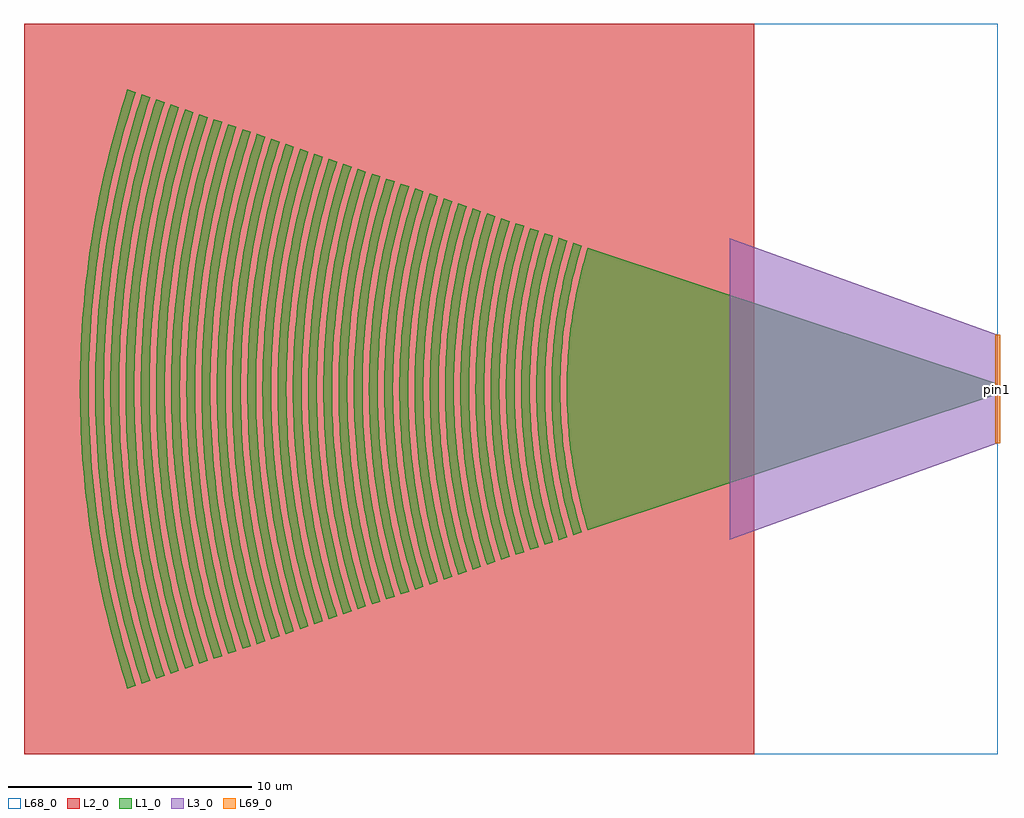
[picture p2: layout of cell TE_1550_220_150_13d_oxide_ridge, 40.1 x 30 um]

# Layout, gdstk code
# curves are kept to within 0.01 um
import gdstk
lib = gdstk.Library(unit=1e-6, precision=1e-09)
def R(c, l, rs):  # rectangles x0, y0, x1, y1
    for r in rs: c.add(gdstk.rectangle(r[:2], r[2:], *l))
def P(c, l, *ps):  # polygons
    for p in ps: c.add(gdstk.Polygon(p, *l))
L1_0 = (1, 0)
L2_0 = (2, 0)
L3_0 = (3, 0)
L68_0 = (68, 0)
L69_0 = (69, 0)

te_1550_220_150_13d_oxid = lib.new_cell('TE_1550_220_150_13d_oxide_ridge')
P(te_1550_220_150_13d_oxid, L1_0, [(23.162,9.202),(22.963,9.901),(22.79,10.606),(22.643,11.316),(22.522,12.029),(22.427,12.746),(22.358,13.466),(22.315,14.187),(22.299,14.91),(22.315,15.813),(22.358,16.534),(22.427,17.254),(22.522,17.971),(22.643,18.684),(22.79,19.394),(22.963,20.099),(23.162,20.798),(40,15.225),(40,14.775)],
  [(19.026,7.778),(18.772,8.647),(18.551,9.524),(18.363,10.407),(18.209,11.296),(18.087,12.19),(17.999,13.087),(17.945,13.987),(17.924,14.887),(17.937,15.788),(17.983,16.688),(18.062,17.586),(18.175,18.481),(18.363,19.593),(18.551,20.476),(18.772,21.353),(19.026,22.222),(19.366,22.105),(19.117,21.25),(18.9,20.387),(18.716,19.518),(18.564,18.643),(18.444,17.764),(18.358,16.882),(18.305,15.997),(18.284,15.111),(18.296,14.225),(18.342,13.339),(18.42,12.456),(18.531,11.576),(18.674,10.7),(18.851,9.829),(19.117,8.75),(19.366,7.895)],
  [(18.435,7.574),(18.173,8.468),(17.946,9.369),(17.752,10.277),(17.593,11.191),(17.467,12.11),(17.377,13.033),(17.321,13.958),(17.299,14.884),(17.312,15.811),(17.36,16.736),(17.442,17.659),(17.558,18.579),(17.709,19.495),(17.894,20.405),(18.113,21.308),(18.435,22.426),(18.775,22.308),(18.518,21.429),(18.294,20.542),(18.104,19.648),(17.947,18.748),(17.825,17.844),(17.735,16.936),(17.68,16.026),(17.659,15.114),(17.68,13.974),(17.735,13.064),(17.825,12.156),(17.947,11.252),(18.104,10.352),(18.294,9.458),(18.518,8.571),(18.775,7.692)],
  [(17.844,7.371),(17.574,8.288),(17.34,9.214),(17.141,10.148),(16.976,11.087),(16.848,12.031),(16.754,12.979),(16.696,13.929),(16.674,14.881),(16.687,15.833),(16.736,16.784),(16.821,17.732),(16.976,18.913),(17.141,19.852),(17.34,20.786),(17.574,21.712),(17.844,22.629),(18.184,22.512),(17.919,21.608),(17.689,20.697),(17.493,19.778),(17.331,18.853),(17.205,17.923),(17.113,16.99),(17.056,16.054),(17.034,15.117),(17.047,14.18),(17.095,13.244),(17.178,12.31),(17.296,11.379),(17.449,10.453),(17.689,9.303),(17.919,8.392),(18.184,7.488)],
  [(17.253,7.168),(16.976,8.109),(16.734,9.06),(16.529,10.018),(16.36,10.982),(16.228,11.951),(16.132,12.925),(16.072,13.901),(16.049,14.878),(16.063,15.855),(16.113,16.832),(16.2,17.806),(16.36,19.018),(16.529,19.982),(16.734,20.94),(16.976,21.891),(17.253,22.832),(17.593,22.715),(17.321,21.788),(17.083,20.851),(16.881,19.908),(16.715,18.958),(16.585,18.003),(16.49,17.044),(16.432,16.083),(16.409,15.12),(16.432,13.917),(16.49,12.956),(16.585,11.997),(16.715,11.042),(16.881,10.092),(17.083,9.149),(17.321,8.212),(17.593,7.285)],
  [(16.662,6.964),(16.377,7.93),(16.129,8.905),(15.918,9.888),(15.744,10.877),(15.608,11.872),(15.509,12.871),(15.448,13.872),(15.424,14.875),(15.438,15.878),(15.49,16.879),(15.579,17.879),(15.706,18.874),(15.918,20.112),(16.129,21.095),(16.377,22.07),(16.662,23.036),(17.002,22.919),(16.722,21.967),(16.478,21.006),(16.27,20.037),(16.099,19.062),(15.965,18.082),(15.868,17.098),(15.807,16.112),(15.784,15.124),(15.798,14.135),(15.849,13.148),(15.937,12.163),(16.062,11.182),(16.224,10.206),(16.422,9.236),(16.657,8.273),(17.002,7.081)],
  [(16.071,6.761),(15.778,7.751),(15.523,8.75),(15.306,9.758),(15.128,10.773),(14.988,11.792),(14.886,12.816),(14.823,13.843),(14.799,14.871),(14.814,15.9),(14.867,16.927),(14.959,17.952),(15.089,18.973),(15.306,20.242),(15.523,21.25),(15.778,22.249),(16.071,23.239),(16.411,23.122),(16.123,22.146),(15.872,21.16),(15.659,20.167),(15.483,19.167),(15.345,18.162),(15.245,17.152),(15.183,16.14),(15.159,15.127),(15.173,14.113),(15.245,12.848),(15.345,11.838),(15.483,10.833),(15.659,9.833),(15.872,8.84),(16.123,7.854),(16.411,6.878)],
  [(15.48,6.557),(15.179,7.572),(14.918,8.596),(14.695,9.628),(14.512,10.668),(14.368,11.713),(14.264,12.762),(14.199,13.814),(14.174,14.868),(14.189,15.922),(14.244,16.975),(14.338,18.025),(14.472,19.071),(14.646,20.112),(14.858,21.147),(15.179,22.428),(15.48,23.443),(15.82,23.326),(15.524,22.325),(15.267,21.315),(15.047,20.297),(14.867,19.272),(14.725,18.241),(14.622,17.207),(14.559,16.169),(14.534,15.13),(14.549,14.091),(14.622,12.793),(14.725,11.759),(14.867,10.728),(15.047,9.703),(15.267,8.685),(15.524,7.675),(15.82,6.674)],
  [(14.889,6.354),(14.581,7.392),(14.312,8.441),(14.084,9.499),(13.896,10.563),(13.748,11.633),(13.641,12.708),(13.575,13.786),(13.549,14.865),(13.564,15.944),(13.621,17.023),(13.717,18.098),(13.855,19.17),(14.033,20.236),(14.251,21.295),(14.581,22.608),(14.889,23.646),(15.229,23.529),(14.926,22.504),(14.661,21.47),(14.436,20.427),(14.25,19.377),(14.105,18.321),(14,17.261),(13.934,16.198),(13.909,15.133),(13.924,14.068),(13.979,13.005),(14.105,11.679),(14.25,10.623),(14.436,9.573),(14.661,8.53),(14.926,7.496),(15.229,6.471)],
  [(14.298,6.15),(13.982,7.213),(13.707,8.287),(13.472,9.369),(13.279,10.458),(13.128,11.554),(13.018,12.654),(12.95,13.757),(12.924,14.862),(12.94,15.967),(12.997,17.07),(13.128,18.446),(13.279,19.542),(13.472,20.631),(13.707,21.713),(13.982,22.787),(14.298,23.85),(14.638,23.733),(14.327,22.684),(14.055,21.624),(13.824,20.556),(13.634,19.481),(13.485,18.4),(13.377,17.315),(13.31,16.226),(13.284,15.136),(13.3,14.046),(13.356,12.957),(13.454,11.871),(13.634,10.519),(13.824,9.444),(14.055,8.376),(14.327,7.316),(14.638,6.267)],
  [(13.707,5.947),(13.383,7.034),(13.101,8.132),(12.861,9.239),(12.663,10.354),(12.508,11.474),(12.396,12.6),(12.326,13.728),(12.299,14.859),(12.315,15.989),(12.374,17.118),(12.476,18.245),(12.62,19.367),(12.861,20.761),(13.101,21.868),(13.383,22.966),(13.707,24.053),(14.047,23.936),(13.728,22.863),(13.45,21.779),(13.213,20.686),(13.018,19.586),(12.865,18.48),(12.754,17.369),(12.686,16.255),(12.659,15.139),(12.675,14.024),(12.754,12.631),(12.865,11.52),(13.018,10.414),(13.213,9.314),(13.45,8.221),(13.728,7.137),(14.047,6.064)],
  [(13.116,5.743),(12.784,6.855),(12.495,7.977),(12.25,9.109),(12.047,10.249),(11.888,11.395),(11.773,12.546),(11.702,13.7),(11.674,14.855),(11.691,16.011),(11.751,17.166),(11.855,18.318),(12.003,19.465),(12.195,20.606),(12.495,22.023),(12.784,23.145),(13.116,24.257),(13.457,24.14),(13.129,23.042),(12.844,21.934),(12.602,20.816),(12.402,19.691),(12.245,18.559),(12.132,17.423),(12.061,16.284),(12.034,15.143),(12.05,14.001),(12.11,12.862),(12.245,11.441),(12.402,10.309),(12.602,9.184),(12.844,8.066),(13.129,6.958),(13.457,5.86)],
  [(12.525,5.54),(12.186,6.676),(11.89,7.823),(11.638,8.979),(11.431,10.144),(11.268,11.315),(11.15,12.492),(11.077,13.671),(11.049,14.852),(11.066,16.034),(11.128,17.214),(11.235,18.391),(11.386,19.564),(11.582,20.73),(11.823,21.889),(12.108,23.039),(12.525,24.46),(12.866,24.343),(12.531,23.221),(12.239,22.088),(11.99,20.946),(11.786,19.795),(11.625,18.639),(11.509,17.477),(11.437,16.312),(11.409,15.146),(11.437,13.688),(11.509,12.523),(11.625,11.361),(11.786,10.205),(11.99,9.054),(12.239,7.912),(12.531,6.779),(12.866,5.657)],
  [(22.571,8.999),(22.365,9.722),(22.185,10.451),(22.032,11.186),(21.906,11.925),(21.807,12.667),(21.735,13.412),(21.691,14.159),(21.674,14.907),(21.684,15.654),(21.722,16.401),(21.786,17.147),(21.878,17.89),(21.998,18.63),(22.144,19.366),(22.317,20.096),(22.571,21.001),(22.912,20.884),(22.709,20.175),(22.533,19.46),(22.384,18.74),(22.261,18.015),(22.164,17.287),(22.094,16.557),(22.051,15.825),(22.034,15.092),(22.044,14.358),(22.081,13.626),(22.144,12.895),(22.234,12.167),(22.384,11.26),(22.533,10.54),(22.709,9.825),(22.912,9.116)],
  [(21.98,8.795),(21.766,9.543),(21.579,10.297),(21.42,11.056),(21.29,11.82),(21.187,12.587),(21.113,13.358),(21.067,14.13),(21.049,14.903),(21.06,15.677),(21.099,16.449),(21.166,17.22),(21.261,17.989),(21.42,18.944),(21.579,19.703),(21.766,20.457),(21.98,21.205),(22.321,21.087),(22.111,20.354),(21.928,19.614),(21.772,18.869),(21.644,18.12),(21.544,17.367),(21.471,16.611),(21.426,15.853),(21.409,15.095),(21.419,14.336),(21.471,13.389),(21.544,12.633),(21.644,11.88),(21.772,11.131),(21.928,10.386),(22.111,9.646),(22.321,8.913)],
  [(21.389,8.592),(21.167,9.364),(20.973,10.142),(20.809,10.926),(20.673,11.715),(20.567,12.508),(20.49,13.304),(20.442,14.101),(20.424,14.9),(20.435,15.699),(20.475,16.497),(20.567,17.492),(20.673,18.285),(20.809,19.074),(20.973,19.858),(21.167,20.636),(21.389,21.408),(21.73,21.291),(21.512,20.533),(21.322,19.769),(21.161,18.999),(21.028,18.225),(20.924,17.446),(20.849,16.665),(20.802,15.882),(20.784,15.098),(20.795,14.314),(20.834,13.53),(20.924,12.554),(21.028,11.775),(21.161,11.001),(21.322,10.231),(21.512,9.467),(21.73,8.709)],
  [(10.161,4.726),(9.791,5.959),(9.468,7.204),(9.193,8.46),(8.966,9.725),(8.789,10.997),(8.66,12.275),(8.58,13.556),(8.549,14.84),(8.568,16.123),(8.635,17.405),(8.752,18.684),(8.966,20.275),(9.193,21.54),(9.468,22.796),(9.791,24.041),(10.161,25.274),(10.502,25.157),(10.135,23.938),(9.816,22.707),(9.545,21.465),(9.321,20.214),(9.146,18.957),(9.018,17.694),(8.94,16.427),(8.909,15.159),(8.927,13.89),(9.018,12.306),(9.146,11.043),(9.321,9.786),(9.545,8.535),(9.816,7.293),(10.135,6.062),(10.502,4.843)],
  [(9.57,4.522),(9.192,5.78),(8.862,7.05),(8.581,8.331),(8.35,9.621),(8.169,10.918),(8.037,12.221),(7.956,13.528),(7.924,14.836),(7.943,16.145),(8.012,17.453),(8.131,18.757),(8.3,20.056),(8.519,21.348),(8.787,22.631),(9.105,23.904),(9.57,25.478),(9.911,25.361),(9.537,24.117),(9.211,22.861),(8.933,21.595),(8.705,20.319),(8.526,19.036),(8.396,17.748),(8.315,16.456),(8.284,15.162),(8.303,13.868),(8.371,12.575),(8.526,10.964),(8.705,9.681),(8.933,8.405),(9.211,7.139),(9.537,5.883),(9.911,4.639)],
  [(8.979,4.319),(8.593,5.6),(8.256,6.895),(7.97,8.201),(7.734,9.516),(7.549,10.838),(7.414,12.167),(7.331,13.499),(7.299,14.833),(7.318,16.168),(7.414,17.833),(7.549,19.162),(7.734,20.484),(7.97,21.799),(8.256,23.105),(8.593,24.4),(8.979,25.681),(9.32,25.564),(8.938,24.296),(8.605,23.016),(8.322,21.724),(8.089,20.424),(7.906,19.116),(7.773,17.802),(7.691,16.485),(7.659,15.165),(7.678,13.845),(7.748,12.527),(7.868,11.212),(8.038,9.903),(8.259,8.6),(8.605,6.984),(8.938,5.704),(9.32,4.436)],
  [(8.389,4.115),(7.994,5.421),(7.651,6.74),(7.359,8.071),(7.118,9.411),(6.929,10.759),(6.792,12.113),(6.707,13.47),(6.674,14.83),(6.677,15.51),(6.707,16.53),(6.792,17.887),(6.929,19.241),(7.118,20.589),(7.359,21.929),(7.651,23.26),(7.994,24.579),(8.389,25.885),(8.729,25.767),(8.339,24.476),(8,23.171),(7.711,21.854),(7.473,20.529),(7.286,19.195),(7.15,17.856),(7.066,16.513),(7.034,15.168),(7.054,13.823),(7.125,12.479),(7.247,11.139),(7.421,9.804),(7.646,8.476),(8,6.829),(8.339,5.524),(8.729,4.233)],
  [(7.798,3.912),(7.396,5.242),(7.045,6.586),(6.747,7.941),(6.502,9.306),(6.309,10.679),(6.169,12.058),(6.083,13.442),(6.049,14.827),(6.069,16.212),(6.142,17.596),(6.269,18.976),(6.448,20.351),(6.747,22.059),(7.045,23.414),(7.396,24.758),(7.798,26.088),(8.138,25.971),(7.74,24.655),(7.394,23.325),(7.099,21.984),(6.857,20.633),(6.666,19.275),(6.528,17.91),(6.442,16.542),(6.409,15.171),(6.429,13.801),(6.501,12.431),(6.626,11.066),(6.804,9.706),(6.912,9.028),(7.099,8.016),(7.394,6.675),(7.74,5.345),(8.138,4.029)],
  [(7.207,3.708),(6.797,5.063),(6.44,6.431),(6.136,7.811),(5.885,9.202),(5.689,10.6),(5.546,12.004),(5.458,13.413),(5.424,14.824),(5.434,15.882),(5.458,16.587),(5.546,17.996),(5.689,19.4),(5.885,20.798),(6.136,22.189),(6.44,23.569),(6.797,24.937),(7.207,26.292),(7.547,26.174),(7.142,24.834),(6.789,23.48),(6.488,22.114),(6.24,20.738),(6.046,19.354),(5.905,17.964),(5.818,16.571),(5.784,15.175),(5.804,13.778),(5.878,12.384),(5.935,11.688),(6.046,10.646),(6.24,9.262),(6.488,7.886),(6.789,6.52),(7.142,5.166),(7.547,3.826)],
  [(6.616,3.505),(6.198,4.884),(5.834,6.277),(5.524,7.682),(5.269,9.097),(5.069,10.52),(4.924,11.95),(4.834,13.384),(4.799,14.82),(4.82,16.257),(4.896,17.692),(4.955,18.408),(5.069,19.48),(5.269,20.903),(5.524,22.318),(5.834,23.723),(6.198,25.116),(6.616,26.495),(6.956,26.378),(6.543,25.013),(6.183,23.634),(5.877,22.244),(5.624,20.843),(5.426,19.434),(5.282,18.019),(5.193,16.599),(5.159,15.178),(5.169,14.111),(5.193,13.401),(5.282,11.981),(5.426,10.566),(5.624,9.157),(5.877,7.756),(6.183,6.366),(6.543,4.987),(6.956,3.622)],
  [(6.025,3.301),(5.599,4.704),(5.229,6.122),(4.913,7.552),(4.653,8.992),(4.449,10.441),(4.301,11.896),(4.209,13.356),(4.174,14.817),(4.185,15.914),(4.209,16.644),(4.301,18.104),(4.449,19.559),(4.653,21.008),(4.913,22.448),(5.229,23.878),(5.599,25.296),(6.025,26.699),(6.365,26.581),(5.944,25.192),(5.577,23.789),(5.265,22.373),(5.008,20.947),(4.806,19.513),(4.66,18.073),(4.569,16.628),(4.534,15.181),(4.555,13.734),(4.632,12.288),(4.764,10.846),(4.952,9.41),(5.067,8.695),(5.265,7.627),(5.577,6.211),(5.944,4.808),(6.365,3.419)],
  [(5.434,3.098),(5.001,4.525),(4.623,5.967),(4.302,7.422),(4.037,8.888),(3.829,10.361),(3.678,11.842),(3.585,13.327),(3.549,14.814),(3.56,15.93),(3.585,16.673),(3.678,18.158),(3.829,19.639),(4.037,21.112),(4.302,22.578),(4.623,24.033),(5.001,25.475),(5.434,26.902),(5.774,26.785),(5.345,25.372),(4.972,23.944),(4.654,22.503),(4.392,21.052),(4.186,19.593),(4.037,18.127),(3.945,16.657),(3.909,15.184),(3.931,13.711),(4.009,12.24),(4.144,10.773),(4.335,9.312),(4.583,7.859),(4.887,6.415),(5.06,5.698),(5.345,4.628),(5.774,3.215)],
  [(4.843,2.894),(4.402,4.346),(4.017,5.813),(3.69,7.292),(3.421,8.783),(3.209,10.282),(3.056,11.788),(2.961,13.298),(2.924,14.811),(2.946,16.324),(3.027,17.835),(3.165,19.342),(3.362,20.843),(3.548,21.964),(3.69,22.708),(4.017,24.187),(4.402,25.654),(4.843,27.106),(5.183,26.988),(4.747,25.551),(4.366,24.098),(4.042,22.633),(3.776,21.157),(3.566,19.672),(3.414,18.181),(3.32,16.685),(3.284,15.187),(3.306,13.689),(3.386,12.193),(3.523,10.7),(3.718,9.214),(3.97,7.735),(4.197,6.633),(4.366,5.902),(4.747,4.449),(5.183,3.012)],
  [(4.252,2.691),(3.803,4.167),(3.412,5.658),(3.079,7.163),(2.805,8.678),(2.589,10.202),(2.433,11.734),(2.336,13.269),(2.299,14.808),(2.322,16.346),(2.403,17.883),(2.545,19.415),(2.745,20.942),(3.005,22.46),(3.323,23.967),(3.504,24.716),(3.803,25.833),(4.252,27.309),(4.592,27.192),(4.148,25.73),(3.761,24.253),(3.431,22.763),(3.16,21.262),(2.946,19.752),(2.792,18.235),(2.696,16.714),(2.659,15.191),(2.681,13.667),(2.762,12.145),(2.902,10.627),(3.101,9.115),(3.358,7.612),(3.673,6.119),(3.947,5.007),(4.148,4.27),(4.592,2.808)],
  [(20.798,8.388),(20.568,9.184),(20.368,9.987),(20.197,10.796),(20.057,11.61),(19.947,12.428),(19.867,13.25),(19.818,14.073),(19.799,14.897),(19.81,15.721),(19.867,16.75),(19.947,17.572),(20.057,18.39),(20.197,19.204),(20.368,20.013),(20.568,20.816),(20.798,21.612),(21.139,21.494),(20.913,20.712),(20.717,19.924),(20.55,19.129),(20.412,18.329),(20.304,17.526),(20.226,16.719),(20.178,15.911),(20.159,15.101),(20.17,14.292),(20.211,13.483),(20.282,12.676),(20.382,11.871),(20.512,11.071),(20.672,10.275),(20.861,9.484),(21.139,8.506)],
  [(20.208,8.185),(19.969,9.005),(19.762,9.833),(19.586,10.667),(19.441,11.506),(19.327,12.349),(19.245,13.195),(19.194,14.044),(19.174,14.894),(19.186,15.744),(19.229,16.593),(19.327,17.651),(19.441,18.494),(19.586,19.333),(19.762,20.167),(19.969,20.995),(20.208,21.815),(20.548,21.698),(20.314,20.892),(20.111,20.078),(19.938,19.259),(19.796,18.434),(19.684,17.605),(19.603,16.773),(19.553,15.939),(19.534,15.104),(19.546,14.269),(19.588,13.435),(19.661,12.602),(19.765,11.773),(19.938,10.741),(20.111,9.922),(20.314,9.108),(20.548,8.302)],
  [(19.617,7.981),(19.371,8.826),(19.157,9.678),(18.975,10.537),(18.825,11.401),(18.707,12.269),(18.622,13.141),(18.569,14.015),(18.549,14.891),(18.561,15.766),(18.606,16.64),(18.683,17.513),(18.792,18.382),(18.934,19.248),(19.108,20.108),(19.314,20.962),(19.617,22.019),(19.957,21.901),(19.716,21.071),(19.506,20.233),(19.327,19.388),(19.18,18.539),(19.064,17.685),(18.981,16.828),(18.929,15.968),(18.909,15.108),(18.921,14.247),(18.965,13.387),(19.041,12.529),(19.148,11.674),(19.287,10.824),(19.458,9.978),(19.66,9.138),(19.957,8.099)],
  [(11.934,5.336),(11.587,6.496),(11.284,7.668),(11.027,8.85),(10.815,10.04),(10.648,11.236),(10.528,12.437),(10.453,13.642),(10.424,14.849),(10.441,16.056),(10.505,17.262),(10.614,18.464),(10.769,19.662),(11.027,21.15),(11.284,22.332),(11.587,23.504),(11.934,24.664),(12.275,24.547),(11.932,23.4),(11.633,22.243),(11.379,21.076),(11.17,19.9),(11.005,18.718),(10.886,17.531),(10.813,16.341),(10.784,15.149),(10.801,13.957),(10.864,12.766),(10.971,11.578),(11.124,10.395),(11.322,9.218),(11.565,8.048),(11.853,6.888),(12.275,5.453)],
  [(11.343,5.133),(10.988,6.317),(10.679,7.514),(10.415,8.72),(10.199,9.935),(10.028,11.156),(9.905,12.383),(9.829,13.614),(9.799,14.846),(9.817,16.078),(9.881,17.309),(9.993,18.537),(10.152,19.76),(10.357,20.977),(10.609,22.186),(10.906,23.385),(11.343,24.867),(11.684,24.75),(11.333,23.58),(11.028,22.397),(10.768,21.205),(10.554,20.005),(10.385,18.798),(10.264,17.586),(10.188,16.37),(10.159,15.152),(10.177,13.934),(10.24,12.718),(10.351,11.505),(10.507,10.296),(10.71,9.094),(10.958,7.9),(11.252,6.715),(11.684,5.25)],
  [(10.752,4.929),(10.389,6.138),(10.073,7.359),(9.804,8.59),(9.582,9.83),(9.408,11.077),(9.282,12.329),(9.204,13.585),(9.174,14.843),(9.192,16.101),(9.258,17.357),(9.372,18.61),(9.534,19.859),(9.744,21.101),(10.001,22.334),(10.389,23.862),(10.752,25.071),(11.093,24.954),(10.734,23.759),(10.422,22.552),(10.156,21.335),(9.937,20.11),(9.766,18.877),(9.641,17.64),(9.564,16.398),(9.534,15.155),(9.552,13.912),(9.617,12.67),(9.73,11.432),(9.937,9.89),(10.156,8.665),(10.422,7.448),(10.734,6.241),(11.093,5.046)])
R(te_1550_220_150_13d_oxid, L2_0, [(0,0,30,30)])
P(te_1550_220_150_13d_oxid, L3_0, [(29,8.8),(29,21.2),(40,17.225),(40,12.775)])
R(te_1550_220_150_13d_oxid, L68_0, [(0,0,40,30)])
te_1550_220_150_13d_oxid.add(gdstk.FlexPath([(39.9,15),(40.1,15)], 4.45, ends="flush", simple_path=True, layer=69, datatype=0))  # L69_0
te_1550_220_150_13d_oxid.add(gdstk.Label('pin1', (40,15), layer=69, texttype=0))

lib.write_gds('TE_1550_220_150_13d_oxide_ridge.gds')
